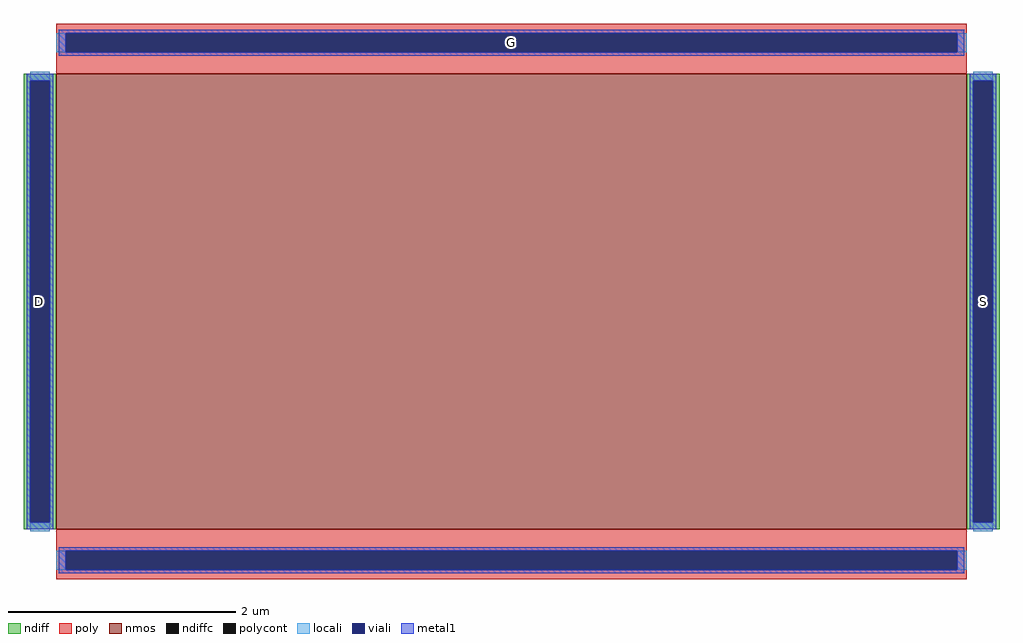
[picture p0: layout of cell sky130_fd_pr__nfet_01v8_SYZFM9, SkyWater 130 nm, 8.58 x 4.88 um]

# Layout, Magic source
magic
tech sky130A
magscale 1 2
<< nmos >>
rect -800 -400 800 400
<< ndiff >>
rect -858 388 -800 400
rect -858 -388 -846 388
rect -812 -388 -800 388
rect -858 -400 -800 -388
rect 800 388 858 400
rect 800 -388 812 388
rect 846 -388 858 388
rect 800 -400 858 -388
<< ndiffc >>
rect -846 -388 -812 388
rect 812 -388 846 388
<< poly >>
rect -800 472 800 488
rect -800 438 -784 472
rect 784 438 800 472
rect -800 400 800 438
rect -800 -438 800 -400
rect -800 -472 -784 -438
rect 784 -472 800 -438
rect -800 -488 800 -472
<< polycont >>
rect -784 438 784 472
rect -784 -472 784 -438
<< locali >>
rect -800 438 -784 472
rect 784 438 800 472
rect -846 388 -812 404
rect -846 -404 -812 -388
rect 812 388 846 404
rect 812 -404 846 -388
rect -800 -472 -784 -438
rect 784 -472 800 -438
<< viali >>
rect -784 438 784 472
rect -846 -388 -812 388
rect 812 -388 846 388
rect -784 -472 784 -438
<< metal1 >>
rect -796 472 796 478
rect -796 438 -784 472
rect 784 438 796 472
rect -796 432 796 438
rect -852 388 -806 400
rect -852 -388 -846 388
rect -812 -388 -806 388
rect -852 -400 -806 -388
rect 806 388 852 400
rect 806 -388 812 388
rect 846 -388 852 388
rect 806 -400 852 -388
rect -796 -438 796 -432
rect -796 -472 -784 -438
rect 784 -472 796 -438
rect -796 -478 796 -472
<< labels >>
rlabel ndiffc -829 0 -829 0 0 D
port 1 nsew
rlabel ndiffc 829 0 829 0 0 S
port 2 nsew
rlabel polycont 0 455 0 455 0 G
port 3 nsew
<< properties >>
string gencell sky130_fd_pr__nfet_01v8
string library sky130
string parameters w 4 l 8 m 1 nf 1 diffcov 100 polycov 100 guard 0 glc 1 grc 1 gtc 1 gbc 1 tbcov 100 rlcov 100 topc 1 botc 1 poverlap 0 doverlap 1 lmin 0.15 wmin 0.42 class mosfet compatible {sky130_fd_pr__nfet_01v8 sky130_fd_pr__nfet_01v8_lvt  sky130_fd_bs_flash__special_sonosfet_star  sky130_fd_pr__nfet_g5v0d10v5 sky130_fd_pr__nfet_05v0_nvt  sky130_fd_pr__nfet_03v3_nvt} full_metal 1 conn_gates 0 viasrc 100 viadrn 100 viagate 100 viagb 0 viagr 0 viagl 0 viagt 0 doports 1
<< end >>
